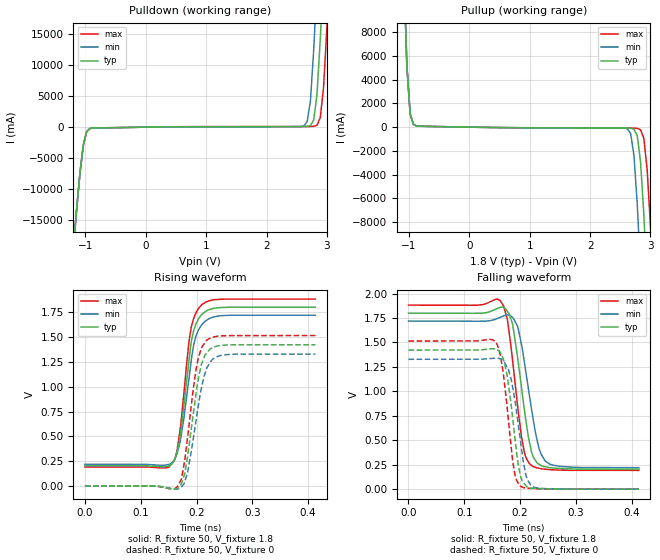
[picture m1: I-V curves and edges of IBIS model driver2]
| IBIS file invchain_stage4_tr100ps.ibs created by PYS2IBIS3
| Missouri S&T EMC Lab
[IBIS Ver] 7.1
[File Name] invchain_stage4_tr100ps.ibs
[File Rev] 1.0
[Date] Jul 27, 2026
[Source] inv_chain variant 'stage4' -- four stages, same final drive
[Notes] Parameter selection; sim_time=4.129e-10, tr=tf=1.000e-10.
[Component] invchain
[Manufacturer] s2ibispy study
[Package]
| variable   typ   min   max
R_pkg 0 NA NA
L_pkg 0H NA NA
C_pkg 0F NA NA
[Pin]  signal_name   model_name   R_pin   L_pin   C_pin
VSSQ   VSSQ   Gnd
VCCQ   VCCQ   Power
| IN IN dummy
PAD   PAD   driver2
| End of Component
| Models and submodels in the file (1): driver2 (Output)
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[Model] driver2
Model_type Output
Polarity Non-Inverting
Enable Active-High
Vinl  = 0.8V
Vinh  = 2V
C_comp 0.4680pF NA NA
[Temperature Range] 27.0000 27.0000 27.0000
[Voltage Range] 1.8000V 1.7000V 1.9000V
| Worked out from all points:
|   slope of the pulldown table from 0 to 0.27 V, typ, clamps not added: 6.79 ohm
|   slope of the pullup table from 0 to 0.27 V, typ, clamps not added: 12.6 ohm
|   rising waveform, R_fixture 50, V_fixture 1.8: 20-80 % time 20.4ps typ, 21.9ps min, 19.2ps max; typ from 0.204 V to 1.8 V
|   rising waveform, R_fixture 50, V_fixture 0: 20-80 % time 21.7ps typ, 23.4ps min, 20.5ps max; typ from 0 V to 1.42 V
|   falling waveform, R_fixture 50, V_fixture 1.8: 20-80 % time 22.9ps typ, 25.4ps min, 20.9ps max; typ from 1.8 V to 0.204 V
|   falling waveform, R_fixture 50, V_fixture 0: 20-80 % time 18.2ps typ, 20.3ps min, 17.1ps max; typ from 1.42 V to 0 V
[Pulldown]
| Voltage   I(typ)   I(min)   I(max)
-1.8V     -87.88A    -87.88A    -87.88A
-1.2V     -19.4A     -19.4A     -19.4A
-1.036V   -2.952A    -2.948A    -2.955A
-927.3mV  -221.8mA   -216.4mA   -227mA
2.618V    95.77mA    193.1mA    97.15mA
2.727V    244.8mA    4.224A     106.4mA
2.782V    1.151A     12.49A     132.5mA
2.836V    5.27A      23.04A     313.7mA
2.891V    14.25A     33.59A     1.533A
2.946V    24.81A     44.15A     6.464A
3V        35.36A     54.71A     16.02A
3.6V      151.5A     170.8A     132.1A
[Pullup]
| Voltage   I(typ)   I(min)   I(max)
-1.8V     151.4A     151.4A     151.4A
-1.091V   14.2A      14.19A     14.2A
-981.8mV  1.13A      1.129A     1.132A
-872.7mV  99.18mA    97.54mA    100.6mA
2.618V    -78.19mA   -142.5mA   -79.21mA
2.727V    -177.2mA   -2.408A    -86.52mA
2.782V    -728.3mA   -6.523A    -104.6mA
2.836V    -2.952A    -12.18A    -222.3mA
2.891V    -7.391A    -18.4A     -950.7mA
2.946V    -13.22A    -24.62A    -3.561A
3V        -19.44A    -30.85A    -8.297A
3.6V      -87.92A    -99.33A    -76.52A
[Ramp]
| variable   typ   min   max
dV/dt_r 0.8532/0.02168n 0.7968/0.02335n 0.9090/0.02058n
dV/dt_f 0.9575/0.02295n 0.8972/0.02475n 1.0171/0.02135n
R_load = 50
[Rising Waveform]
R_fixture = 50
V_fixture = 1.8
|time   V(typ)   V(min)   V(max)
0s        204.2mV    219.5mV    192.2mV
159.9ps   258mV      261.4mV    254.5mV
164.9ps   342.9mV    321.1mV    350.5mV
172.8ps   581.9mV    517.7mV    671.3mV
186.4ps   1.275V     1.086V     1.451V
190.5ps   1.452V     1.271V     1.597V
198.8ps   1.63V      1.506V     1.741V
210ps     1.729V     1.627V     1.828V
245.5ps   1.798V     1.716V     1.881V
412.9ps   1.8V       1.719V     1.882V
[Rising Waveform]
R_fixture = 50
V_fixture = 0
|time   V(typ)   V(min)   V(max)
0s        13.08nV    12.76nV    13.48nV
164.9ps   -23.96mV   -30.52mV   -10.93mV
172.8ps   20.35mV    -8.059mV   67.41mV
179ps     130.3mV    47.01mV    264mV
188.5ps   482.2mV    272.8mV    706.2mV
203.3ps   1.084V     813.9mV    1.294V
212.8ps   1.284V     1.094V     1.426V
222.3ps   1.369V     1.227V     1.483V
255ps     1.42V      1.324V     1.514V
412.9ps   1.422V     1.328V     1.515V
[Falling Waveform]
R_fixture = 50
V_fixture = 1.8
|time   V(typ)   V(min)   V(max)
0s        1.8V       1.719V     1.882V
164.1ps   1.858V     1.757V     1.929V
177.3ps   1.817V     1.782V     1.732V
186.4ps   1.692V     1.756V     1.323V
195.9ps   1.334V     1.66V      835.1mV
207.9ps   801.3mV    1.294V     371.1mV
222.3ps   349.4mV    752.2mV    234.1mV
234.7ps   250.9mV    401.7mV    211.4mV
253.3ps   219.9mV    254.9mV    199.4mV
412.9ps   204.2mV    219.5mV    192.2mV
[Falling Waveform]
R_fixture = 50
V_fixture = 0
|time   V(typ)   V(min)   V(max)
0s        1.422V     1.328V     1.515V
155.8ps   1.432V     1.34V      1.507V
164.1ps   1.402V     1.333V     1.385V
176.5ps   1.17V      1.25V      855.7mV
188ps     658mV      997.5mV    241.2mV
195.5ps   291.1mV    715.8mV    72.67mV
200.9ps   131.1mV    486.8mV    28.41mV
210.4ps   37.72mV    145.4mV    11.36mV
224.4ps   8.175mV    21.21mV    5.739mV
412.9ps   -2.453uV   -4.339uV   -1.284uV
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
